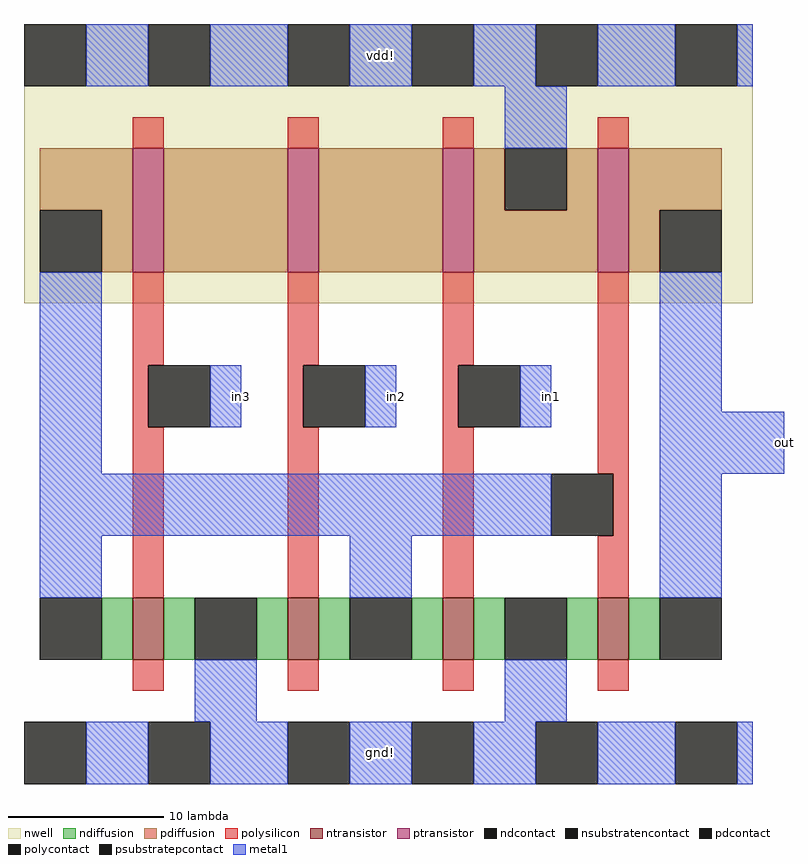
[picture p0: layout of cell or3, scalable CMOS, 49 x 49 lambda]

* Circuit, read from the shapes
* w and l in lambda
.subckt or3 gnd! in1 in2 in3 out vdd!
M1 gnd! in3 n1 gnd! nfet w=4 l=2
M2 n1 in2 gnd! gnd! nfet w=4 l=2
M3 gnd! in1 n1 gnd! nfet w=4 l=2
M4 out n1 gnd! gnd! nfet w=4 l=2
M5 n2 in3 n1 vdd! pfet w=8 l=2
M6 n3 in2 n2 vdd! pfet w=8 l=2
M7 vdd! in1 n3 vdd! pfet w=8 l=2
M8 out n1 vdd! vdd! pfet w=8 l=2
.ends

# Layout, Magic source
magic
tech scmos
<< nwell >>
rect 2 3 49 21
<< polysilicon >>
rect 9 13 11 15
rect 19 13 21 15
rect 29 13 31 15
rect 39 13 41 15
rect 9 -1 11 5
rect 19 -1 21 5
rect 29 -1 31 5
rect 9 -5 10 -1
rect 19 -5 20 -1
rect 29 -5 30 -1
rect 9 -16 11 -5
rect 19 -16 21 -5
rect 29 -16 31 -5
rect 39 -8 41 5
rect 40 -12 41 -8
rect 39 -16 41 -12
rect 9 -22 11 -20
rect 19 -22 21 -20
rect 29 -22 31 -20
rect 39 -22 41 -20
<< ndiffusion >>
rect 7 -20 9 -16
rect 11 -20 13 -16
rect 17 -20 19 -16
rect 21 -20 23 -16
rect 27 -20 29 -16
rect 31 -20 33 -16
rect 37 -20 39 -16
rect 41 -20 43 -16
<< pdiffusion >>
rect 3 9 9 13
rect 7 5 9 9
rect 11 5 19 13
rect 21 5 29 13
rect 31 9 33 13
rect 37 9 39 13
rect 31 5 39 9
rect 41 9 47 13
rect 41 5 43 9
<< metal1 >>
rect 6 17 10 21
rect 14 17 19 21
rect 23 17 27 21
rect 31 17 35 21
rect 39 17 44 21
rect 48 17 49 21
rect 33 13 37 17
rect 3 -8 7 5
rect 14 -5 16 -1
rect 24 -5 26 -1
rect 34 -5 36 -1
rect 43 -4 47 5
rect 43 -8 51 -4
rect 3 -12 36 -8
rect 3 -16 7 -12
rect 23 -16 27 -12
rect 43 -16 47 -8
rect 13 -24 17 -20
rect 33 -24 37 -20
rect 6 -28 10 -24
rect 14 -28 19 -24
rect 23 -28 27 -24
rect 31 -28 35 -24
rect 39 -28 44 -24
rect 48 -28 49 -24
<< ntransistor >>
rect 9 -20 11 -16
rect 19 -20 21 -16
rect 29 -20 31 -16
rect 39 -20 41 -16
<< ptransistor >>
rect 9 5 11 13
rect 19 5 21 13
rect 29 5 31 13
rect 39 5 41 13
<< polycontact >>
rect 10 -5 14 -1
rect 20 -5 24 -1
rect 30 -5 34 -1
rect 36 -12 40 -8
<< ndcontact >>
rect 3 -20 7 -16
rect 13 -20 17 -16
rect 23 -20 27 -16
rect 33 -20 37 -16
rect 43 -20 47 -16
<< pdcontact >>
rect 3 5 7 9
rect 33 9 37 13
rect 43 5 47 9
<< psubstratepcontact >>
rect 2 -28 6 -24
rect 10 -28 14 -24
rect 19 -28 23 -24
rect 27 -28 31 -24
rect 35 -28 39 -24
rect 44 -28 48 -24
<< nsubstratencontact >>
rect 2 17 6 21
rect 10 17 14 21
rect 19 17 23 21
rect 27 17 31 21
rect 35 17 39 21
rect 44 17 48 21
<< labels >>
rlabel metal1 36 -5 36 -1 7 in1
rlabel metal1 26 -5 26 -1 1 in2
rlabel metal1 16 -5 16 -1 1 in3
rlabel metal1 51 -8 51 -4 7 out
rlabel metal1 25 -26 25 -26 1 gnd!
rlabel metal1 25 19 25 19 5 vdd!
<< end >>
